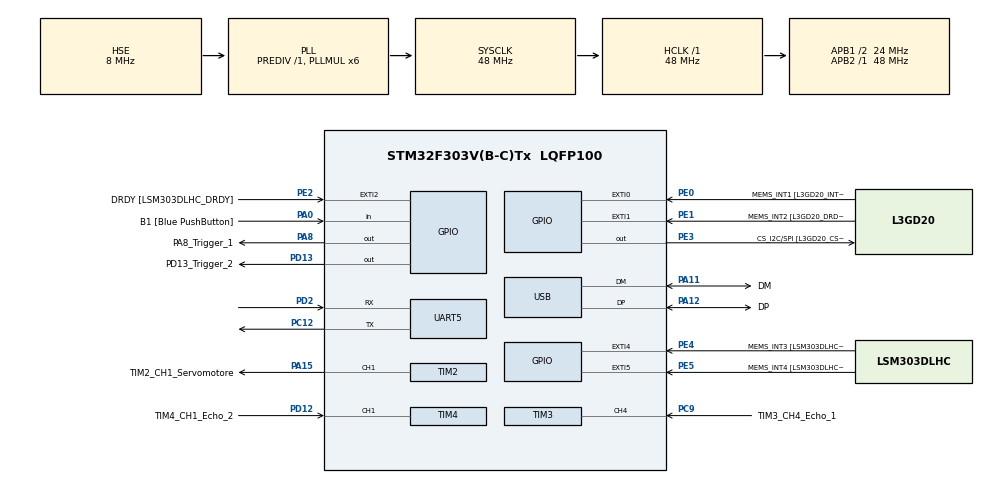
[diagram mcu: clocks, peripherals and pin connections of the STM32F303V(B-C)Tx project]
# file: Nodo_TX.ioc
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Mcu.Family=STM32F3
Mcu.Name=STM32F303V(B-C)Tx
Mcu.Package=LQFP100
NVIC.PriorityGroup=NVIC_PRIORITYGROUP_0
NVIC.TIM3_IRQn=true\:0\:0\:false\:false\:true\:true\:true\:true
NVIC.TIM4_IRQn=true\:0\:0\:false\:false\:true\:true\:true\:true
NVIC.UART5_IRQn=true\:0\:0\:false\:false\:true\:true\:true\:true
PA0.GPIO_Label=B1 [Blue PushButton]
PA0.Signal=GPIO_Input
PA11.GPIO_Label=DM
PA11.Mode=Device
PA11.Signal=USB_DM
PA12.GPIO_Label=DP
PA12.Mode=Device
PA12.Signal=USB_DP
PA13.GPIO_Label=SWDIO
PA13.Mode=Serial_Wire
PA13.Signal=SYS_JTMS-SWDIO
PA14.GPIO_Label=SWCLK
PA14.Mode=Serial_Wire
PA14.Signal=SYS_JTCK-SWCLK
PA15.GPIO_Label=TIM2_CH1_Servomotore
PA15.Signal=S_TIM2_CH1_ETR
PA8.GPIO_Label=PA8_Trigger_1
PA8.Signal=GPIO_Output
PB3.GPIO_Label=SWO
PB3.Signal=SYS_JTDO-TRACESWO
PC12.Mode=Asynchronous
PC12.Signal=UART5_TX
PC14-OSC32_IN.GPIO_Label=OSC32_IN
PC14-OSC32_IN.Signal=RCC_OSC32_IN
PC15-OSC32_OUT.GPIO_Label=OSC32_OUT
PC15-OSC32_OUT.Signal=RCC_OSC32_OUT
PC9.GPIO_Label=TIM3_CH4_Echo_1
PC9.Signal=S_TIM3_CH4
PD12.GPIO_Label=TIM4_CH1_Echo_2
PD12.Signal=S_TIM4_CH1
PD13.GPIO_Label=PD13_Trigger_2
PD13.Signal=GPIO_Output
PD2.Mode=Asynchronous
PD2.Signal=UART5_RX
PE0.GPIO_Label=MEMS_INT1 [L3GD20_INT1]
PE0.GPIO_ModeDefaultEXTI=GPIO_MODE_EVT_RISING
PE0.Signal=GPXTI0
PE1.GPIO_Label=MEMS_INT2 [L3GD20_DRDY/INT2]
PE1.GPIO_ModeDefaultEXTI=GPIO_MODE_EVT_RISING
PE1.Signal=GPXTI1
PE2.GPIO_Label=DRDY [LSM303DLHC_DRDY]
PE2.GPIO_ModeDefaultEXTI=GPIO_MODE_EVT_RISING
PE2.Signal=GPXTI2
PE3.GPIO_Label=CS_I2C/SPI [L3GD20_CS_I2C/SPI]
PE3.Signal=GPIO_Output
PE4.GPIO_Label=MEMS_INT3 [LSM303DLHC_INT1]
PE4.GPIO_ModeDefaultEXTI=GPIO_MODE_EVT_RISING
PE4.Signal=GPXTI4
PE5.GPIO_Label=MEMS_INT4 [LSM303DLHC_INT2]
PE5.GPIO_ModeDefaultEXTI=GPIO_MODE_EVT_RISING
PE5.Signal=GPXTI5
PF0-OSC_IN.GPIO_Label=OSC_IN
PF0-OSC_IN.Mode=HSE-External-Oscillator
PF0-OSC_IN.Signal=RCC_OSC_IN
PF1-OSC_OUT.GPIO_Label=OSC_OUT
PF1-OSC_OUT.Mode=HSE-External-Oscillator
PF1-OSC_OUT.Signal=RCC_OSC_OUT
ProjectManager.HeapSize=0x200
ProjectManager.StackSize=0x400
ProjectManager.TargetToolchain=STM32CubeIDE
RCC.AHBFreq_Value=48000000
RCC.APB1CLKDivider=RCC_HCLK_DIV2
RCC.APB1Freq_Value=24000000
RCC.APB1TimFreq_Value=48000000
RCC.APB2Freq_Value=48000000
RCC.APB2TimFreq_Value=48000000
RCC.CortexFreq_Value=48000000
RCC.HCLKFreq_Value=48000000
RCC.HSE_VALUE=8000000
RCC.HSI_VALUE=8000000
RCC.LSE_VALUE=32768
RCC.PLLMUL=RCC_PLL_MUL6
RCC.SYSCLKFreq_VALUE=48000000
RCC.SYSCLKSourceVirtual=RCC_SYSCLKSOURCE_PLLCLK
RCC.USBFreq_Value=48000000
SH.S_TIM2_CH1_ETR.0=TIM2_CH1,PWM Generation1 CH1
SH.S_TIM3_CH4.0=TIM3_CH4,Input_Capture4_from_TI4
SH.S_TIM4_CH1.0=TIM4_CH1,Input_Capture1_from_TI1
TIM2.Channel-PWM\ Generation1\ CH1=TIM_CHANNEL_1
TIM2.Period=9999
TIM2.Prescaler=228
TIM3.Channel-Input_Capture4_from_TI4=TIM_CHANNEL_4
TIM3.Prescaler=47
TIM4.Channel-Input_Capture1_from_TI1=TIM_CHANNEL_1
TIM4.Prescaler=47
VP_TIM2_VS_ClockSourceINT.Mode=Internal
board=STM32F3DISCOVERY

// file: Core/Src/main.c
/* USER CODE BEGIN Header */
/**
  ******************************************************************************
  * @file           : main.c
  * @brief          : Main program body
  ******************************************************************************
  * @attention
  *
  * Copyright (c) 2025 STMicroelectronics.
  * All rights reserved.
  *
  * This software is licensed under terms that can be found in the LICENSE file
  * in the root directory of this software component.
  * If no LICENSE file comes with this software, it is provided AS-IS.
  *
  ******************************************************************************
  */
/* USER CODE END Header */
#include "main.h"
#include <stdlib.h>
#include <string.h>
#include <HCSR04.h>
#include <stdbool.h>

TIM_HandleTypeDef htim2;
TIM_HandleTypeDef htim3;
TIM_HandleTypeDef htim4;

UART_HandleTypeDef huart5;

PCD_HandleTypeDef hpcd_USB_FS;

/* USER CODE BEGIN PV */

#define NUM_MISURAZIONI 7

uint32_t buffer_misure[NUM_MISURAZIONI] = {0};
uint8_t indice_buffer = 0;
bool buffer_pieno = false;

static bool oggettoRilevato = false;

hcsr04_t s1 = {0, 0, 0, 0, 0};
hcsr04_t s2 = {0, 0, 0, 0, 0};

static uint32_t	s2_distance_cm_old = 0;

const uint32_t threeshold_a = 18;
const uint32_t threeshold_e = 3;
const uint8_t theta0 = 0;
const uint8_t thetaf = 180;

typedef enum {
    STATO_IN_ATTESA_A_0,
    STATO_IN_ROTAZIONE_VERSO_180,
    STATO_IN_ATTESA_A_180,
    STATO_IN_ROTAZIONE_VERSO_0
} StatoServo_t;

static StatoServo_t statoCorrente = STATO_IN_ATTESA_A_0;

const uint32_t h_max = 15;

/* USER CODE END PV */

void SystemClock_Config(void);
static void MX_GPIO_Init(void);
static void MX_USB_PCD_Init(void);
static void MX_TIM2_Init(void);
static void MX_TIM3_Init(void);
static void MX_TIM4_Init(void);
static void MX_UART5_Init(void);
/* USER CODE BEGIN PFP */
void Set_Servo_Angle(TIM_HandleTypeDef *htim, uint32_t channel, uint8_t angle);
bool delta_variation();
int comparatore(const void *a, const void *b);
uint32_t calcola_mediana(uint32_t *buffer, uint8_t size);
/* USER CODE END PFP */

/* USER CODE BEGIN 0 */

int comparatore(const void *a, const void *b) {
    return (*(uint32_t*)a - *(uint32_t*)b);
}

uint32_t calcola_mediana(uint32_t *buffer, uint8_t size) {
    uint32_t copia[size];
    memcpy(copia, buffer, size * sizeof(uint32_t));
    qsort(copia, size, sizeof(uint32_t), comparatore);
    return copia[size / 2];
}

void Set_Servo_Angle(TIM_HandleTypeDef *htim, uint32_t channel, uint8_t angle) {

	uint32_t pulse_length = 210 + (angle * (1050 - 210)/180);
	__HAL_TIM_SET_COMPARE(htim, channel, pulse_length);
}

bool delta_variation(){
	uint32_t delta;

    if (s2.distance_cm > s2_distance_cm_old){
        delta = s2.distance_cm - s2_distance_cm_old;}
    else{
        delta = s2_distance_cm_old - s2.distance_cm;}

	bool condition = (float) delta > (float) h_max*0.05;

	return condition;

}

void HAL_TIM_IC_CaptureCallback(TIM_HandleTypeDef *htim) {

	if (htim == &htim3){
		 if (htim->Channel == HAL_TIM_ACTIVE_CHANNEL_4) {
		        if (s1.is_first_capture == 0) {
		            s1.ic_val1 = HAL_TIM_ReadCapturedValue(htim, TIM_CHANNEL_4);
		            s1.is_first_capture = 1;

		            __HAL_TIM_SET_CAPTUREPOLARITY(htim, TIM_CHANNEL_4, TIM_INPUTCHANNELPOLARITY_FALLING);
		        } else {
		            s1.ic_val2 = HAL_TIM_ReadCapturedValue(htim, TIM_CHANNEL_4);
		            __HAL_TIM_SET_COUNTER(htim, 0);

		            if (s1.ic_val2 > s1.ic_val1)
		                s1.difference = s1.ic_val2 - s1.ic_val1;
		            else
		                s1.difference = (0xFFFF - s1.ic_val1) + s1.ic_val2;

		            s1.distance_cm = (s1.difference * 343) / 20000;

		            s1.is_first_capture = 0;
		            __HAL_TIM_SET_CAPTUREPOLARITY(htim, TIM_CHANNEL_4, TIM_INPUTCHANNELPOLARITY_RISING);
		        }
		    }
	}

	if (htim == &htim4){
		if (htim->Channel == HAL_TIM_ACTIVE_CHANNEL_1) {
		            if (s2.is_first_capture == 0) {
		                s2.ic_val1 = HAL_TIM_ReadCapturedValue(htim, TIM_CHANNEL_1);
		                s2.is_first_capture = 1;

		                __HAL_TIM_SET_CAPTUREPOLARITY(htim, TIM_CHANNEL_1, TIM_INPUTCHANNELPOLARITY_FALLING);
		            } else {
		                s2.ic_val2 = HAL_TIM_ReadCapturedValue(htim, TIM_CHANNEL_1);
		                __HAL_TIM_SET_COUNTER(htim, 0);

		                if (s2.ic_val2 > s2.ic_val1)
		                    s2.difference = s2.ic_val2 - s2.ic_val1;
		                else
		                    s2.difference = (0xFFFF - s2.ic_val1) + s2.ic_val2;

		                s2.distance_cm = (s2.difference * 343) / 20000;

		                s2.is_first_capture = 0;
		                __HAL_TIM_SET_CAPTUREPOLARITY(htim, TIM_CHANNEL_1, TIM_INPUTCHANNELPOLARITY_RISING);
		            }
		        }
	}
}

/* USER CODE END 0 */

int main(void)
{

  /* MCU Configuration--------------------------------------------------------*/

  /* Reset of all peripherals, Initializes the Flash interface and the Systick. */
  HAL_Init();

  /* Configure the system clock */
  SystemClock_Config();

  /* Initialize all configured peripherals */
  MX_GPIO_Init();
  MX_USB_PCD_Init();
  MX_TIM2_Init();
  MX_TIM3_Init();
  MX_TIM4_Init();
  MX_UART5_Init();
  /* USER CODE BEGIN 2 */

  HAL_TIM_IC_Start_IT(&htim3, TIM_CHANNEL_4);
  HAL_TIM_IC_Start_IT(&htim4, TIM_CHANNEL_1);
  HAL_TIM_PWM_Start(&htim2, TIM_CHANNEL_1);

  Set_Servo_Angle(&htim2, TIM_CHANNEL_1, 0);
  HAL_Delay(500);
  /* USER CODE END 2 */

  /* Infinite loop */
  while (1)
  {

    /* USER CODE BEGIN 3 */

	  HCSR04_Trigger(GPIOA, GPIO_PIN_8, &htim3);
	  HAL_Delay(100);

	  buffer_misure[indice_buffer] = s1.distance_cm;
	  indice_buffer = (indice_buffer + 1) % NUM_MISURAZIONI;
	  if (indice_buffer == 0) buffer_pieno = true;

	  if (buffer_pieno) {
	      uint32_t mediana = calcola_mediana(buffer_misure, NUM_MISURAZIONI);

	      if (!oggettoRilevato) {
	          if (mediana > threeshold_e && mediana < threeshold_a) {
	              oggettoRilevato = true;
	          }

	      } else {
	          if (mediana >= threeshold_a || mediana <= threeshold_e) {
	                  oggettoRilevato = false;
	          }
	      }
          buffer_pieno = false;
	  }

	  switch (statoCorrente) {
	    case STATO_IN_ATTESA_A_0:

	      if (oggettoRilevato) {

	        statoCorrente = STATO_IN_ROTAZIONE_VERSO_180;
	      }
	      break;

	    case STATO_IN_ROTAZIONE_VERSO_180:

	      for (uint8_t angle = theta0; angle <= thetaf; angle += 5) {
	        Set_Servo_Angle(&htim2, TIM_CHANNEL_1, angle);
	        HAL_Delay(50);
	      }
	      Set_Servo_Angle(&htim2, TIM_CHANNEL_1, thetaf);

	      statoCorrente = STATO_IN_ATTESA_A_180;
	      break;

	    case STATO_IN_ATTESA_A_180:

	      if (!oggettoRilevato) {

	        statoCorrente = STATO_IN_ROTAZIONE_VERSO_0;
	      }
	      break;

	    case STATO_IN_ROTAZIONE_VERSO_0:

	      for (uint8_t angle = thetaf; angle > theta0; angle -= 5) {
	        Set_Servo_Angle(&htim2, TIM_CHANNEL_1, angle);
	        HAL_Delay(50);
	      }
	      Set_Servo_Angle(&htim2, TIM_CHANNEL_1, theta0);

	      statoCorrente = STATO_IN_ATTESA_A_0;
	      break;
	  }

	  HCSR04_Trigger(GPIOD, GPIO_PIN_13, &htim4);
	  HAL_Delay(100);

	  if(delta_variation()){
		      HAL_UART_Transmit(&huart5, (uint8_t *) &s2.distance_cm, 4, HAL_MAX_DELAY);
	  		  s2_distance_cm_old = s2.distance_cm;
	  	  }

	  HAL_Delay(100);

  }
  /* USER CODE END 3 */
}

void SystemClock_Config(void)
{
  RCC_OscInitTypeDef RCC_OscInitStruct = {0};
  RCC_ClkInitTypeDef RCC_ClkInitStruct = {0};
  RCC_PeriphCLKInitTypeDef PeriphClkInit = {0};

  /** Initializes the RCC Oscillators according to the specified parameters
  * in the RCC_OscInitTypeDef structure.
  */
  RCC_OscInitStruct.OscillatorType = RCC_OSCILLATORTYPE_HSE;
  RCC_OscInitStruct.HSEState = RCC_HSE_ON;
  RCC_OscInitStruct.HSEPredivValue = RCC_HSE_PREDIV_DIV1;
  RCC_OscInitStruct.HSIState = RCC_HSI_ON;
  RCC_OscInitStruct.PLL.PLLState = RCC_PLL_ON;
  RCC_OscInitStruct.PLL.PLLSource = RCC_PLLSOURCE_HSE;
  RCC_OscInitStruct.PLL.PLLMUL = RCC_PLL_MUL6;
  if (HAL_RCC_OscConfig(&RCC_OscInitStruct) != HAL_OK)
  {
    Error_Handler();
  }

  /** Initializes the CPU, AHB and APB buses clocks
  */
  RCC_ClkInitStruct.ClockType = RCC_CLOCKTYPE_HCLK|RCC_CLOCKTYPE_SYSCLK
                              |RCC_CLOCKTYPE_PCLK1|RCC_CLOCKTYPE_PCLK2;
  RCC_ClkInitStruct.SYSCLKSource = RCC_SYSCLKSOURCE_PLLCLK;
  RCC_ClkInitStruct.AHBCLKDivider = RCC_SYSCLK_DIV1;
  RCC_ClkInitStruct.APB1CLKDivider = RCC_HCLK_DIV2;
  RCC_ClkInitStruct.APB2CLKDivider = RCC_HCLK_DIV1;

  if (HAL_RCC_ClockConfig(&RCC_ClkInitStruct, FLASH_LATENCY_1) != HAL_OK)
  {
    Error_Handler();
  }
  PeriphClkInit.PeriphClockSelection = RCC_PERIPHCLK_USB|RCC_PERIPHCLK_UART5;
  PeriphClkInit.Uart5ClockSelection = RCC_UART5CLKSOURCE_PCLK1;
  PeriphClkInit.USBClockSelection = RCC_USBCLKSOURCE_PLL;
  if (HAL_RCCEx_PeriphCLKConfig(&PeriphClkInit) != HAL_OK)
  {
    Error_Handler();
  }
}

static void MX_TIM2_Init(void)
{

  TIM_ClockConfigTypeDef sClockSourceConfig = {0};
  TIM_MasterConfigTypeDef sMasterConfig = {0};
  TIM_OC_InitTypeDef sConfigOC = {0};

  htim2.Instance = TIM2;
  htim2.Init.Prescaler = 228;
  htim2.Init.CounterMode = TIM_COUNTERMODE_UP;
  htim2.Init.Period = 4199;
  htim2.Init.ClockDivision = TIM_CLOCKDIVISION_DIV1;
  htim2.Init.AutoReloadPreload = TIM_AUTORELOAD_PRELOAD_DISABLE;
  if (HAL_TIM_Base_Init(&htim2) != HAL_OK)
  {
    Error_Handler();
  }
  sClockSourceConfig.ClockSource = TIM_CLOCKSOURCE_INTERNAL;
  if (HAL_TIM_ConfigClockSource(&htim2, &sClockSourceConfig) != HAL_OK)
  {
    Error_Handler();
  }
  if (HAL_TIM_PWM_Init(&htim2) != HAL_OK)
  {
    Error_Handler();
  }
  sMasterConfig.MasterOutputTrigger = TIM_TRGO_RESET;
  sMasterConfig.MasterSlaveMode = TIM_MASTERSLAVEMODE_DISABLE;
  if (HAL_TIMEx_MasterConfigSynchronization(&htim2, &sMasterConfig) != HAL_OK)
  {
    Error_Handler();
  }
  sConfigOC.OCMode = TIM_OCMODE_PWM1;
  sConfigOC.Pulse = 0;
  sConfigOC.OCPolarity = TIM_OCPOLARITY_HIGH;
  sConfigOC.OCFastMode = TIM_OCFAST_DISABLE;
  if (HAL_TIM_PWM_ConfigChannel(&htim2, &sConfigOC, TIM_CHANNEL_1) != HAL_OK)
  {
    Error_Handler();
  }
  HAL_TIM_MspPostInit(&htim2);

}

static void MX_TIM3_Init(void)
{

  TIM_MasterConfigTypeDef sMasterConfig = {0};
  TIM_IC_InitTypeDef sConfigIC = {0};

  htim3.Instance = TIM3;
  htim3.Init.Prescaler = 47;
  htim3.Init.CounterMode = TIM_COUNTERMODE_UP;
  htim3.Init.Period = 65535;
  htim3.Init.ClockDivision = TIM_CLOCKDIVISION_DIV1;
  htim3.Init.AutoReloadPreload = TIM_AUTORELOAD_PRELOAD_DISABLE;
  if (HAL_TIM_IC_Init(&htim3) != HAL_OK)
  {
    Error_Handler();
  }
  sMasterConfig.MasterOutputTrigger = TIM_TRGO_RESET;
  sMasterConfig.MasterSlaveMode = TIM_MASTERSLAVEMODE_DISABLE;
  if (HAL_TIMEx_MasterConfigSynchronization(&htim3, &sMasterConfig) != HAL_OK)
  {
    Error_Handler();
  }
  sConfigIC.ICPolarity = TIM_INPUTCHANNELPOLARITY_RISING;
  sConfigIC.ICSelection = TIM_ICSELECTION_DIRECTTI;
  sConfigIC.ICPrescaler = TIM_ICPSC_DIV1;
  sConfigIC.ICFilter = 0;
  if (HAL_TIM_IC_ConfigChannel(&htim3, &sConfigIC, TIM_CHANNEL_4) != HAL_OK)
  {
    Error_Handler();
  }

}

static void MX_TIM4_Init(void)
{

  TIM_MasterConfigTypeDef sMasterConfig = {0};
  TIM_IC_InitTypeDef sConfigIC = {0};

  htim4.Instance = TIM4;
  htim4.Init.Prescaler = 47;
  htim4.Init.CounterMode = TIM_COUNTERMODE_UP;
  htim4.Init.Period = 65535;
  htim4.Init.ClockDivision = TIM_CLOCKDIVISION_DIV1;
  htim4.Init.AutoReloadPreload = TIM_AUTORELOAD_PRELOAD_DISABLE;
  if (HAL_TIM_IC_Init(&htim4) != HAL_OK)
  {
    Error_Handler();
  }
  sMasterConfig.MasterOutputTrigger = TIM_TRGO_RESET;
  sMasterConfig.MasterSlaveMode = TIM_MASTERSLAVEMODE_DISABLE;
  if (HAL_TIMEx_MasterConfigSynchronization(&htim4, &sMasterConfig) != HAL_OK)
  {
    Error_Handler();
  }
  sConfigIC.ICPolarity = TIM_INPUTCHANNELPOLARITY_RISING;
  sConfigIC.ICSelection = TIM_ICSELECTION_DIRECTTI;
  sConfigIC.ICPrescaler = TIM_ICPSC_DIV1;
  sConfigIC.ICFilter = 0;
  if (HAL_TIM_IC_ConfigChannel(&htim4, &sConfigIC, TIM_CHANNEL_1) != HAL_OK)
  {
    Error_Handler();
  }

}

static void MX_UART5_Init(void)
{

  huart5.Instance = UART5;
  huart5.Init.BaudRate = 115200;
  huart5.Init.WordLength = UART_WORDLENGTH_8B;
  huart5.Init.StopBits = UART_STOPBITS_1;
  huart5.Init.Parity = UART_PARITY_NONE;
  huart5.Init.Mode = UART_MODE_TX_RX;
  huart5.Init.HwFlowCtl = UART_HWCONTROL_NONE;
  huart5.Init.OverSampling = UART_OVERSAMPLING_16;
  huart5.Init.OneBitSampling = UART_ONE_BIT_SAMPLE_DISABLE;
  huart5.AdvancedInit.AdvFeatureInit = UART_ADVFEATURE_NO_INIT;
  if (HAL_UART_Init(&huart5) != HAL_OK)
  {
    Error_Handler();
  }

}

static void MX_USB_PCD_Init(void)
{

  hpcd_USB_FS.Instance = USB;
  hpcd_USB_FS.Init.dev_endpoints = 8;
  hpcd_USB_FS.Init.speed = PCD_SPEED_FULL;
  hpcd_USB_FS.Init.phy_itface = PCD_PHY_EMBEDDED;
  hpcd_USB_FS.Init.low_power_enable = DISABLE;
  hpcd_USB_FS.Init.battery_charging_enable = DISABLE;
  if (HAL_PCD_Init(&hpcd_USB_FS) != HAL_OK)
  {
    Error_Handler();
  }

}

static void MX_GPIO_Init(void)
{
  GPIO_InitTypeDef GPIO_InitStruct = {0};

  /* GPIO Ports Clock Enable */
  __HAL_RCC_GPIOE_CLK_ENABLE();
  __HAL_RCC_GPIOC_CLK_ENABLE();
  __HAL_RCC_GPIOF_CLK_ENABLE();
  __HAL_RCC_GPIOA_CLK_ENABLE();
  __HAL_RCC_GPIOD_CLK_ENABLE();
  __HAL_RCC_GPIOB_CLK_ENABLE();

  /*Configure GPIO pin Output Level */
  HAL_GPIO_WritePin(CS_I2C_SPI_GPIO_Port, CS_I2C_SPI_Pin, GPIO_PIN_RESET);

  /*Configure GPIO pin Output Level */
  HAL_GPIO_WritePin(PD13_Trigger_2_GPIO_Port, PD13_Trigger_2_Pin, GPIO_PIN_RESET);

  /*Configure GPIO pin Output Level */
  HAL_GPIO_WritePin(PA8_Trigger_1_GPIO_Port, PA8_Trigger_1_Pin, GPIO_PIN_RESET);

  /*Configure GPIO pins : DRDY_Pin MEMS_INT3_Pin MEMS_INT4_Pin MEMS_INT1_Pin
                           MEMS_INT2_Pin */
  GPIO_InitStruct.Pin = DRDY_Pin|MEMS_INT3_Pin|MEMS_INT4_Pin|MEMS_INT1_Pin
                          |MEMS_INT2_Pin;
  GPIO_InitStruct.Mode = GPIO_MODE_EVT_RISING;
  GPIO_InitStruct.Pull = GPIO_NOPULL;
  HAL_GPIO_Init(GPIOE, &GPIO_InitStruct);

  /*Configure GPIO pin : CS_I2C_SPI_Pin */
  GPIO_InitStruct.Pin = CS_I2C_SPI_Pin;
  GPIO_InitStruct.Mode = GPIO_MODE_OUTPUT_PP;
  GPIO_InitStruct.Pull = GPIO_NOPULL;
  GPIO_InitStruct.Speed = GPIO_SPEED_FREQ_LOW;
  HAL_GPIO_Init(CS_I2C_SPI_GPIO_Port, &GPIO_InitStruct);

  /*Configure GPIO pin : B1_Pin */
  GPIO_InitStruct.Pin = B1_Pin;
  GPIO_InitStruct.Mode = GPIO_MODE_INPUT;
  GPIO_InitStruct.Pull = GPIO_NOPULL;
  HAL_GPIO_Init(B1_GPIO_Port, &GPIO_InitStruct);

  /*Configure GPIO pin : PD13_Trigger_2_Pin */
  GPIO_InitStruct.Pin = PD13_Trigger_2_Pin;
  GPIO_InitStruct.Mode = GPIO_MODE_OUTPUT_PP;
  GPIO_InitStruct.Pull = GPIO_NOPULL;
  GPIO_InitStruct.Speed = GPIO_SPEED_FREQ_LOW;
  HAL_GPIO_Init(PD13_Trigger_2_GPIO_Port, &GPIO_InitStruct);

  /*Configure GPIO pin : PA8_Trigger_1_Pin */
  GPIO_InitStruct.Pin = PA8_Trigger_1_Pin;
  GPIO_InitStruct.Mode = GPIO_MODE_OUTPUT_PP;
  GPIO_InitStruct.Pull = GPIO_NOPULL;
  GPIO_InitStruct.Speed = GPIO_SPEED_FREQ_LOW;
  HAL_GPIO_Init(PA8_Trigger_1_GPIO_Port, &GPIO_InitStruct);

}

void Error_Handler(void)
{
  __disable_irq();
  while (1)
  {
  }
}
